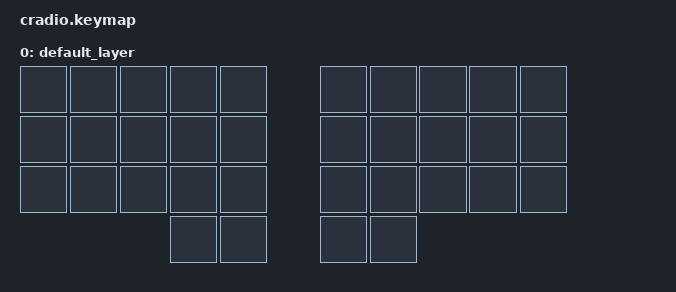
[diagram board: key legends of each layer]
/*
 * Copyright (c) 2020 The ZMK Contributors
 *
 * SPDX-License-Identifier: MIT
 */

#include <behaviors.dtsi>
#include <dt-bindings/zmk/bt.h>
#include <dt-bindings/zmk/keys.h>
#include <dt-bindings/zmk/outputs.h>
#include "zmk-helpers/helper.h"

// CONFIG
#define COMBO_TIMEOUT 70
#define COMBO_TIMEOUT_ADJ 30
#define COMBO_LAYERS 0
#define STICKY_TIMEOUT 900

// LEFT SIDE
#define TLI 13 // TOP
#define TLM 12 // TOP
#define TLR 11 // TOP
#define TLP 10 // TOP
#define BLI 23 // BOTTOM
#define BLM 22 // BOTTOM
#define BLR 21 // BOTTOM
#define BLP 20 // BOTTOM
#define LOT 31 // O-THUMB
#define LIT 30 // I-THUMB

// RIGHT SIDE
#define TRI 16 // TOP
#define TRM 17 // TOP
#define TRR 18 // TOP
#define TRP 19 // TOP
#define BRI 26 // BOTTOM
#define BRM 27 // BOTTOM
#define BRR 28 // BOTTOM
#define BRP 29 // BOTTOM
#define ROT 32 // O-THUMB
#define RIT 33 // I-THUMB

&sk {
    release-after-ms = <STICKY_TIMEOUT>;
    quick-release;
};

// // Alt+Tab swapper, requires tri-state module.
// ZMK_TRI_STATE(swapper, bindings = <&kt LGUI>, <&kp TAB>, <&kt LGUI>;)

// ZMK_TRI_STATE(tabswapper, bindings = <&kt LCTL>, <&kp TAB>, <&kt LCTL>;)

/ {
  combos {
    compatible = "zmk,combos";
    #include "taipo.dtsi"

    combo_bootloader_l {
      timeout-ms = <COMBO_TIMEOUT>;
      bindings = <&bootloader>;
      key-positions = <4 14>;
    };

    combo_bootloader_r {
      timeout-ms = <COMBO_TIMEOUT>;
      bindings = <&bootloader>;
      key-positions = <5 15>;
    };
  };

  keymap {
    compatible = "zmk,keymap";

    default_layer {
      bindings = <
        &none           &none            &none             &none            &none                 &none            &none            &none            &none            &none
        &none           &none            &none             &none            &none                 &none            &none            &none            &none            &none
        &none           &none            &none             &none            &none                 &none            &none            &none            &none            &none
                                                           &none            &none                 &none            &none
      >;
    };
  };
};
